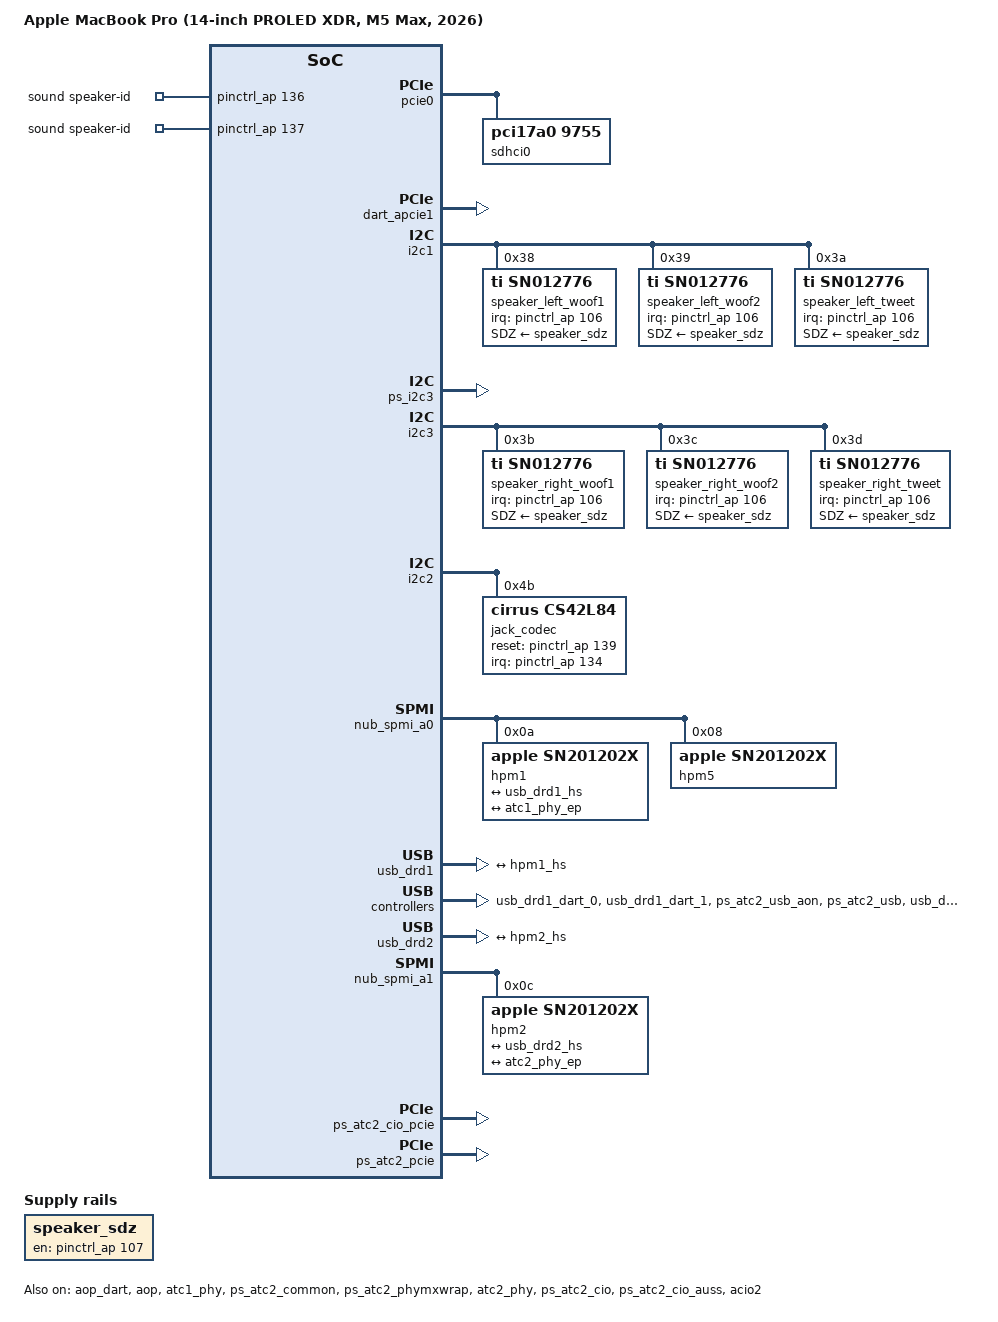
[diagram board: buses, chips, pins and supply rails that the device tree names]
// SPDX-License-Identifier: GPL-2.0+ OR MIT
/*
 * MacBook Pro (14-inch PROLED XDR, M5 Max, 2026)
 *
 * target-type: K114c (Mac17,11)
 *
 * Boots on the hardware; the SD card reader (PCIe port 1) is tested. The other
 * blocks are described from the ADT.
 *
 * Copyright The Asahi Linux Contributors
 */

/* Defined before the includes: t6050-max.dtsi guards the ATC2 router on it. */
#define T6050_K114C
#include "t6050-k114-k116.dtsi"

/ {
	compatible = "apple,k114c", "apple,t6050", "apple,arm-platform";
	model = "Apple MacBook Pro (14-inch PROLED XDR, M5 Max, 2026)";
};

&mtp_multitouch {
	firmware-name = "apple/tpmtfw-k114c.bin";
};

#include "t6050-peripherals.dtsi"

/ {
	aliases {
		/* kboot fills the N1's factory addresses from /chosen through these */
		wifi0 = &n1_alpha;
		bluetooth0 = &n1_beta;
	};
};

/*
 * PCIe port 0: the N1 (Wi-Fi and Bluetooth), laid out as on J716c: the boot
 * loader trains the link and keeps power, clocks, the PHY and PERST; Linux owns
 * the routing, MSI and the DART. The port stays disabled until the loader
 * trains it.
 */
&pcie0 {
	reg = <0x1c 0xb0000000 0x0 0x10000000>,
	      <0x4 0x14000000 0x0 0x4000>,
	      <0x4 0x10028000 0x0 0x8000>,
	      <0x4 0x17010000 0x0 0x4000>,
	      <0x4 0x10024000 0x0 0x4000>,
	      <0x4 0x11028000 0x0 0x8000>,
	      <0x4 0x17014000 0x0 0x4000>,
	      <0x4 0x11024000 0x0 0x4000>,
	      <0x4 0x17020000 0x0 0x4000>;
	reg-names = "config", "rc", "port0", "phy0", "intr2axi0", "port1", "phy1", "intr2axi1",
		    "phy-shared";
	interrupts = <AIC_IRQ 0 1523 IRQ_TYPE_LEVEL_HIGH>,
		     <AIC_IRQ 0 1531 IRQ_TYPE_LEVEL_HIGH>;
	interrupt-names = "port0", "port1";

	/* The N1's three functions are on DART streams 1-3 */
	iommu-map = <0x100 &dart_apcie0 1 3>,
		    <0x200 &dart_apcie1 1 1>;
	bus-range = <0 4>;
	/* dart_apcie1 probes only once port 1 is up: the host must not wait for it */
	post-init-providers = <&dart_apcie1>;
	status = "okay";

	port00: pci@0,0 {
		device_type = "pci";
		reg = <0x0 0 0 0 0>;
		bus-range = <1 1>;
		apple,link-trained-by-bootloader;
		/* PERST#, driven only by the root-port reset after the N1's ROM stage */
		reset-gpios = <&pinctrl_ap 80 GPIO_ACTIVE_LOW>;
		status = "disabled";

		#address-cells = <3>;
		#size-cells = <2>;
		ranges;

		interrupt-controller;
		#interrupt-cells = <1>;
		interrupt-map-mask = <0 0 0 7>;
		interrupt-map = <0 0 0 1 &port00 0 0 0 0>,
				<0 0 0 2 &port00 0 0 0 1>,
				<0 0 0 3 &port00 0 0 0 2>,
				<0 0 0 4 &port00 0 0 0 3>;

		/* platform ID (board 0x04 << 16) | chip 0x6050 */
		n1_control: control@0,0 {
			compatible = "pci106b,1900";
			reg = <0x10000 0x0 0x0 0x0 0x0>;
			firmware-name = "apple/centauri/k114c-ftab.bin";
			apple,centauri-platform-id = <0x00046050>;
			apple,centauri-protocol = <27>;
		};

		n1_alpha: wifi@0,1 {
			compatible = "pci106b,1902";
			reg = <0x10100 0x0 0x0 0x0 0x0>;
			local-mac-address = [00 00 00 00 00 00];
		};

		n1_beta: bluetooth@0,2 {
			compatible = "pci106b,1903";
			reg = <0x10200 0x0 0x0 0x0 0x0>;
			local-bd-address = [00 00 00 00 00 00];
		};
	};

	/*
	 * PCIe port 1: the SD card reader (ADT pci-bridge1/pcie-sdreader, a GL9755), as on
	 * J714s. The boot loader leaves it down, so the kernel trains it: power is the SMC
	 * pcIO output of function-sd_pwr_en (index 3 below), PERST# GPIO 81, IRQ 1531. It is
	 * on stream 1 of dart-apcie1. The link tunables are pci-bridge1's, as on port 0.
	 */
	port01: pci@1,0 {
		device_type = "pci";
		reg = <0x800 0 0 0 0>;
		bus-range = <2 2>;
		apple,link-trained-by-bootloader;
		pwren-gpios = <&smc_pcio 3 GPIO_ACTIVE_HIGH>;
		reset-gpios = <&pinctrl_ap 81 GPIO_ACTIVE_LOW>;
		apple,apcie-config-tunables = <0x140 4 0x1 0x1>,
			<0x144 4 0xffffff 0x253770>,
			<0x8a8 4 0x1 0x1>,
			<0x8ac 4 0x1 0x1>;
		apple,pcie-rc-tunables = <0x78 4 0x7000 0x0>,
			<0x194 4 0x2 0x2>,
			<0xb80 4 0x7f3f3f 0x7f1e1e>,
			<0xb88 4 0x7f3f3f 0x7f1e1e>;
		apple,pcie-rc-gen3-shadow-tunables = <0x154 4 0xf0f0f0f 0x5050505>,
			<0x890 4 0x3000000 0x0>,
			<0x8a8 4 0xffff0f 0x1>;
		apple,pcie-rc-gen4-shadow-tunables = <0x178 4 0xffff 0x5555>,
			<0x890 4 0x3000000 0x1000000>,
			<0x8a8 4 0xffff0f 0x1>;
		apple,pcie-rc-gen5-shadow-tunables = <0x1ac 4 0xffff 0x5555>,
			<0x890 4 0x3000000 0x2000000>,
			<0x8a8 4 0xffff0f 0x1>;

		#address-cells = <3>;
		#size-cells = <2>;
		ranges;

		interrupt-controller;
		#interrupt-cells = <1>;
		interrupt-map-mask = <0 0 0 7>;
		interrupt-map = <0 0 0 1 &port01 0 0 0 0>,
				<0 0 0 2 &port01 0 0 0 1>,
				<0 0 0 3 &port01 0 0 0 2>,
				<0 0 0 4 &port01 0 0 0 3>;

		/* The GL9755; card detect and write protect active high (ADT *-polarity = 1) */
		sdhci0: mmc@0,0 {
			compatible = "pci17a0,9755";
			reg = <0x20000 0x0 0x0 0x0 0x0>;
			cd-inverted;
			wp-inverted;
		};
	};
};

/*
 * Pin 112's register takes an SError when read, so only the pins a node here
 * names are exposed: 80 and 81 (PCIe ports 0 and 1's PERST#); 106 and 107, the speaker
 * amps' interrupt and shutdown line; 134 and 139, the jack codec's interrupt and
 * reset; 136 and 137, the speaker ID.
 */
&pinctrl_ap {
	gpio-reserved-ranges = <0 80>, <82 24>, <108 26>, <135 1>, <138 1>, <140 81>;
};

/* It answers only once port 1's root complex is up: pcie-apple then enables it */
&dart_apcie1 {
	apple,manual-availability;
	status = "okay";
};

/*
 * The board's pcIO outputs (t6050-k114-k116.dtsi lists indices 0 to 2), plus index 3,
 * sd_pwr_en pKW8('pcIO', 0x0, 0x190000): ADT pcie-sdreader function-sd_pwr_en.
 */
&smc_pcio {
	apple,output-commands = /bits/ 64 <0x001a000000000000 0x000f000000800000
					   0x011c000000010000 0x0019000000000000>;
};

#include "t6050-k114c-gpu.dtsi"

/*
 * Sound through the AOP, as on J813: its audio service runs the serializers, the
 * CS42L84 headphone jack on admac-base-ns TX2/RX2 and the six SN012776 speaker amps
 * on TX0, their voltage and current sense on RX0 (ADT iop-audio-controller).
 *
 * The amps (ADT /arm-io/i2c1/audio-speaker* and /arm-io/i2c3/audio-speaker*) share
 * one shutdown line, AP pin 107 (function-reset of the first), and one fault
 * interrupt, pin 106. The ADT's speaker-config gives amp N playback slot N, its
 * voltage sense in slot 4N and current sense in 4N+2, in the order of the first
 * amp's speakerN: left woofer 1, right woofer 1, left woofer 2, right woofer 2,
 * left tweeter, right tweeter. The firmware's speaker frame is 250 BCLKs of 12 MHz
 * (ADT audio-speaker stream), which the amps' ratio detection rejects.
 */
/ {
	speaker_sdz: regulator-sn012776-sdz {
		compatible = "regulator-fixed";
		regulator-name = "sn012776-sdz";
		gpios = <&pinctrl_ap 107 GPIO_ACTIVE_HIGH>;
		enable-active-high;
	};
};

&i2c1 {
	status = "okay";

	speaker_left_woof1: codec@38 {
		compatible = "ti,sn012776", "ti,tas2764";
		reg = <0x38>;
		SDZ-supply = <&speaker_sdz>;
		apple,sdz-group-fail-closed;
		#sound-dai-cells = <0>;
		sound-name-prefix = "Left Woofer 1";
		interrupts-extended = <&pinctrl_ap 106 IRQ_TYPE_LEVEL_LOW>;
		ti,imon-slot-no = <2>;
		ti,vmon-slot-no = <0>;
		ti,bclk-ratio = <250>;
	};

	speaker_left_woof2: codec@39 {
		compatible = "ti,sn012776", "ti,tas2764";
		reg = <0x39>;
		SDZ-supply = <&speaker_sdz>;
		apple,sdz-group-fail-closed;
		#sound-dai-cells = <0>;
		sound-name-prefix = "Left Woofer 2";
		interrupts-extended = <&pinctrl_ap 106 IRQ_TYPE_LEVEL_LOW>;
		ti,imon-slot-no = <10>;
		ti,vmon-slot-no = <8>;
		ti,bclk-ratio = <250>;
	};

	speaker_left_tweet: codec@3a {
		compatible = "ti,sn012776", "ti,tas2764";
		reg = <0x3a>;
		SDZ-supply = <&speaker_sdz>;
		apple,sdz-group-fail-closed;
		#sound-dai-cells = <0>;
		sound-name-prefix = "Left Tweeter";
		interrupts-extended = <&pinctrl_ap 106 IRQ_TYPE_LEVEL_LOW>;
		ti,imon-slot-no = <18>;
		ti,vmon-slot-no = <16>;
		ti,bclk-ratio = <250>;
	};
};

/* The I2C power states have no described parent (SIO), as for i2c1 and i2c2 */
&ps_i2c3 {
	/delete-property/ power-domains;
	status = "okay";
};

&i2c3 {
	/* The ADT gives i2c1, i2c2 and i2c3 the same clock-ids (4) */
	clocks = <&clkref>;
	status = "okay";

	speaker_right_woof1: codec@3b {
		compatible = "ti,sn012776", "ti,tas2764";
		reg = <0x3b>;
		SDZ-supply = <&speaker_sdz>;
		apple,sdz-group-fail-closed;
		#sound-dai-cells = <0>;
		sound-name-prefix = "Right Woofer 1";
		interrupts-extended = <&pinctrl_ap 106 IRQ_TYPE_LEVEL_LOW>;
		ti,imon-slot-no = <6>;
		ti,vmon-slot-no = <4>;
		ti,bclk-ratio = <250>;
	};

	speaker_right_woof2: codec@3c {
		compatible = "ti,sn012776", "ti,tas2764";
		reg = <0x3c>;
		SDZ-supply = <&speaker_sdz>;
		apple,sdz-group-fail-closed;
		#sound-dai-cells = <0>;
		sound-name-prefix = "Right Woofer 2";
		interrupts-extended = <&pinctrl_ap 106 IRQ_TYPE_LEVEL_LOW>;
		ti,imon-slot-no = <14>;
		ti,vmon-slot-no = <12>;
		ti,bclk-ratio = <250>;
	};

	speaker_right_tweet: codec@3d {
		compatible = "ti,sn012776", "ti,tas2764";
		reg = <0x3d>;
		SDZ-supply = <&speaker_sdz>;
		apple,sdz-group-fail-closed;
		#sound-dai-cells = <0>;
		sound-name-prefix = "Right Tweeter";
		interrupts-extended = <&pinctrl_ap 106 IRQ_TYPE_LEVEL_LOW>;
		ti,imon-slot-no = <22>;
		ti,vmon-slot-no = <20>;
		ti,bclk-ratio = <250>;
	};
};

/*
 * The CS42L84 headphone codec (ADT /arm-io/i2c2/audio-codec-output): its reset line
 * is AP pin 139, driven high to run the codec, and its interrupt AP pin 134, level
 * low.
 */
&i2c2 {
	status = "okay";

	jack_codec: codec@4b {
		compatible = "cirrus,cs42l84";
		reg = <0x4b>;
		reset-gpios = <&pinctrl_ap 139 GPIO_ACTIVE_HIGH>;
		interrupts-extended = <&pinctrl_ap 134 IRQ_TYPE_LEVEL_LOW>;
		#sound-dai-cells = <0>;
		sound-name-prefix = "Jack";
	};
};

/ {
	sound {
		compatible = "apple,j714-macaudio", "apple,macaudio";
		model = "MacBook Pro K114";
		/* ADT audio-speaker function-speaker-id0 and -id1 */
		speaker-id-gpios = <&pinctrl_ap 136 GPIO_ACTIVE_HIGH>,
				   <&pinctrl_ap 137 GPIO_ACTIVE_HIGH>;
		#address-cells = <1>;
		#size-cells = <0>;

		dai-link@0 {
			reg = <0>;
			link-name = "Headphone Jack";

			cpu {
				sound-dai = <&aop_audio 0>;
			};

			codec {
				sound-dai = <&jack_codec>;
			};
		};

		dai-link@1 {
			reg = <1>;
			link-name = "Speaker";
			/*
			 * Codecs in ADT speaker-config order, so that macaudio gives them
			 * playback slots 0-5 as macOS does (left channels in slots 0, 2
			 * and 4, right in 1, 3 and 5). The idle masks are the ADT
			 * amp-tx-zd-config rows 0 and 1: left woofer 1 drives zeros in the
			 * right amps' sense slots, right woofer 1 in the left amps'.
			 */
			dai-tdm-idle-mode-0 = "zero";
			dai-tdm-slot-tx-idle-mask-0 = <0xfff0f0f0>;
			dai-tdm-idle-mode-1 = "zero";
			dai-tdm-slot-tx-idle-mask-1 = <0xff0f0f0f>;

			cpu {
				sound-dai = <&aop_audio 3>;
			};

			codec {
				sound-dai = <&speaker_left_woof1>, <&speaker_right_woof1>,
					    <&speaker_left_woof2>, <&speaker_right_woof2>,
					    <&speaker_left_tweet>, <&speaker_right_tweet>;
			};
		};
	};
};

/* The AOP, booted through its setup port, with its sensor and audio services. */
&aop_mbox {
	status = "okay";
};

&aop_setup_mbox {
	status = "okay";
};

&aop_dart {
	status = "okay";
};

&aop {
	status = "okay";
};

/*
 * The microphone array: ADT audio-hp-mic, three microphones on leap-s RX0 through the
 * proxy ADMAC (Linux channel 1, as on J813), captured by the AOP audio service's own card.
 */
&admac_base_ns {
	status = "okay";
};

&admac_ec_proxy {
	status = "okay";
};

&aop_audio {
	apple,chassis-name = "K114";
	apple,machine-kind = "MacBook Pro";
	dmas = <&admac_base_ns 4>, <&admac_base_ns 5>,
	       <&admac_base_ns 0>, <&admac_base_ns 1>,
	       <&admac_ec_proxy 1>;
	dma-names = "cout", "cin", "spkr", "sense", "hpai";
};

/*
 * ==== The left-front USB-C port (ATC1) ====
 *
 * ADT /arm-io/nub-spmi-a0/hpm1 (SN201202x, SPMI address 0xa, port-number 2, port-location
 * "left-front", acio-parent acio1), with atc-phy1, usb-drd1 and dart-usb1. The K114cAP ADT
 * has the same hpm0, hpm1, hpm5, atc-phy and usb-drd nodes as the J714cAP one, so this is the
 * J714c port block. The ATC1 template nodes of t6050-dieX.dtsi are enabled here; the boards
 * sharing t6050-k114-k116.dtsi keep them disabled. The port's USB4/Thunderbolt router
 * (/arm-io/acio1) and its DisplayPort routes are not described; the PHY runs in USB mode.
 *
 * The left-back port (ATC0, hpm0) is the boot link's debug port; the combo PHY driver
 * excludes it on purpose (apple,port-index 0).
 */
/ {
	aliases {
		atcphy1 = &atc1_phy;
	};
};

&nub_spmi_a0 {
	status = "okay";
	/* reg[1]: the generation 4 fault queue, which macOS empties when the controller starts */
	reg = <0x2 0x8a188000 0x0 0x4000>,
	      <0x2 0x8a184000 0x0 0x4000>;

	hpm1: usb-pd@a {
		compatible = "apple,sn201202x";
		reg = <0xa SPMI_USID>;

		connector {
			compatible = "usb-c-connector";
			label = "USB-C Left-front";
			power-role = "dual";
			data-role = "dual";

			ports {
				#address-cells = <1>;
				#size-cells = <0>;

				port@0 {
					reg = <0>;
					hpm1_hs: endpoint {
						remote-endpoint = <&usb_drd1_hs>;
					};
				};

				port@1 {
					reg = <1>;
					hpm1_ss: endpoint {
						remote-endpoint = <&atc1_phy_ep>;
					};
				};
			};
		};
	};

	/*
	 * The MagSafe 3 port's PD controller (ADT hpm5, port-type 0x11). It has no USB data
	 * path, so it gets no connector node; tipd registers a Type-C port and a power supply
	 * for it. Its ADT features-supported is <3>, "Power In" only: no liquid detection.
	 */
	hpm5: usb-pd@8 {
		compatible = "apple,sn201202x";
		reg = <0x8 SPMI_USID>;
		apple,no-liquid-detection;
	};
};

&atc1_phy_mbox {
	status = "okay";
};

&atc1_phy {
	status = "okay";

	port {
		atc1_phy_ep: endpoint {
			remote-endpoint = <&hpm1_ss>;
		};
	};
};

&usb_drd1 {
	status = "okay";

	port {
		usb_drd1_hs: endpoint {
			remote-endpoint = <&hpm1_hs>;
		};
	};
};

&usb_drd1_dart_0 {
	status = "okay";
};

&usb_drd1_dart_1 {
	status = "okay";
};

/*
 * ==== The right USB-C port (ATC2) ====
 *
 * ADT /arm-io/nub-spmi-a1/hpm2 (SN201202x, SPMI address 0xc, port-number 3, port-location
 * "right", acio-parent acio2), with atc-phy2, usb-drd2 and dart-usb2. The HPM is on its own
 * bus, nub-spmi-a1, and nothing hands the port off, so the power domains, the PHY mailbox, the
 * PHY, the DWC3 and its DARTs are enabled outright, as t6050-max-atc2.dtsi does for the J714c
 * and J716c. Its USB4/Thunderbolt router (acio2) and PCIe tunnel are
 * t6050-max-atc2-router.dtsi, included below; the DisplayPort route is not described.
 */
/ {
	aliases {
		atcphy2 = &atc2_phy;
	};
};

&ps_atc2_common {
	status = "okay";
};

&ps_atc2_usb_aon {
	status = "okay";
};

&ps_atc2_phymxwrap {
	status = "okay";
};

&ps_atc2_usb {
	status = "okay";
};

&atc2_phy_mbox {
	status = "okay";
};

&atc2_phy {
	status = "okay";

	port {
		atc2_phy_ep: endpoint {
			remote-endpoint = <&hpm2_ss>;
		};
	};
};

&usb_drd2 {
	status = "okay";

	port {
		usb_drd2_hs: endpoint {
			remote-endpoint = <&hpm2_hs>;
		};
	};
};

&usb_drd2_dart_0 {
	status = "okay";
};

&usb_drd2_dart_1 {
	status = "okay";
};

&nub_spmi_a1 {
	status = "okay";
	/* the driver polls the PD controllers and refuses an interrupt on this bus */
	/delete-property/ interrupts;

	hpm2: usb-pd@c {
		compatible = "apple,sn201202x";
		reg = <0xc SPMI_USID>;

		connector {
			compatible = "usb-c-connector";
			label = "USB-C Right";
			power-role = "dual";
			data-role = "dual";

			ports {
				#address-cells = <1>;
				#size-cells = <0>;

				port@0 {
					reg = <0>;
					hpm2_hs: endpoint {
						remote-endpoint = <&usb_drd2_hs>;
					};
				};

				port@1 {
					reg = <1>;
					hpm2_ss: endpoint {
						remote-endpoint = <&atc2_phy_ep>;
					};
				};
			};
		};
	};
};

#include "t6050-max-atc2-router.dtsi"

/* The host DROM from the K114cAP ADT (/arm-io/acio2 thunderbolt-drom); the boot loader replaces it */
&acio2_nhi {
	apple,thunderbolt-drom = [fd 02 00 00 00 00 00 00 00 90 19 c3 8c 00 5c 00
			00 00 00 00 00 00 08 81 82 02 82 00 00 00 08 82
			92 01 82 00 00 00 03 83 20 08 84 00 00 00 00 00
			00 08 85 00 00 00 00 00 00 05 86 09 01 00 08 87
			00 00 00 00 00 00 05 88 09 01 00 05 89 09 01 00
			05 8a 09 01 00 0e 01 41 70 70 6c 65 2c 20 49 6e
			63 2e 00 06 02 69 4f 53 00 00 00 00];
};

/* The right router's suppliers, disabled in the inventory (as t6050-j714s-display.dtsi enables them) */
&ps_atc2_cio {
	status = "okay";
};

&ps_atc2_cio_pcie {
	status = "okay";
};

&ps_atc2_cio_usb {
	status = "okay";
};

&ps_atc2_cio_auss {
	status = "okay";
};

&ps_atc2_pcie {
	status = "okay";
};

/*
 * The router and its mailbox are on, with all five domains and the PCIe tunnel, whether or not
 * t6050-max.dtsi leaves acio2 disabled and without the fifth domain for boards outside its list.
 */
&acio2_mbox {
	status = "okay";
};

&acio2 {
	status = "okay";
	power-domains = <&ps_atc2_cio>, <&ps_atc2_cio_pcie>,
			<&ps_atc2_cio_usb>, <&ps_atc2_cio_auss>, <&ps_atc2_pcie>;
	apple,pcie-tunnel = <&acio2_pcie_tunnel>;
};
